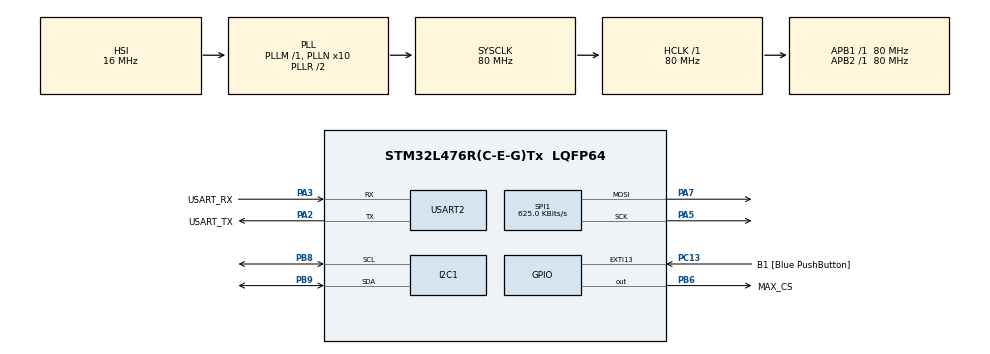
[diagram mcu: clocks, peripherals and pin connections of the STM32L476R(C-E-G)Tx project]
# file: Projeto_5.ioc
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I2C1.Timing=0x10D19CE4
Mcu.Family=STM32L4
Mcu.Name=STM32L476R(C-E-G)Tx
Mcu.Package=LQFP64
NVIC.I2C1_ER_IRQn=true\:0\:0\:false\:false\:true\:true\:true\:true
NVIC.I2C1_EV_IRQn=true\:0\:0\:false\:false\:true\:true\:true\:true
NVIC.PriorityGroup=NVIC_PRIORITYGROUP_4
NVIC.SPI1_IRQn=true\:0\:0\:false\:false\:true\:true\:true\:true
NVIC.USART2_IRQn=true\:0\:0\:false\:false\:true\:true\:true\:true
PA13\ (JTMS-SWDIO).GPIO_Label=TMS
PA13\ (JTMS-SWDIO).Mode=Serial_Wire
PA13\ (JTMS-SWDIO).Signal=SYS_JTMS-SWDIO
PA14\ (JTCK-SWCLK).GPIO_Label=TCK
PA14\ (JTCK-SWCLK).Mode=Serial_Wire
PA14\ (JTCK-SWCLK).Signal=SYS_JTCK-SWCLK
PA2.GPIO_Label=USART_TX
PA2.GPIO_Mode=GPIO_MODE_AF_PP
PA2.GPIO_PuPd=GPIO_NOPULL
PA2.GPIO_Speed=GPIO_SPEED_FREQ_VERY_HIGH
PA2.Mode=Asynchronous
PA2.Signal=USART2_TX
PA3.GPIO_Label=USART_RX
PA3.GPIO_Mode=GPIO_MODE_AF_PP
PA3.GPIO_PuPd=GPIO_NOPULL
PA3.GPIO_Speed=GPIO_SPEED_FREQ_VERY_HIGH
PA3.Mode=Asynchronous
PA3.Signal=USART2_RX
PA5.Mode=TX_Only_Simplex_Unidirect_Master
PA5.Signal=SPI1_SCK
PA7.Mode=TX_Only_Simplex_Unidirect_Master
PA7.Signal=SPI1_MOSI
PB3\ (JTDO-TRACESWO).GPIO_Label=SWO
PB3\ (JTDO-TRACESWO).Signal=SYS_JTDO-SWO
PB6.GPIO_Label=MAX_CS
PB6.PinState=GPIO_PIN_SET
PB6.Signal=GPIO_Output
PB8.Mode=I2C
PB8.Signal=I2C1_SCL
PB9.Mode=I2C
PB9.Signal=I2C1_SDA
PC13.GPIO_Label=B1 [Blue PushButton]
PC13.GPIO_ModeDefaultEXTI=GPIO_MODE_IT_FALLING
PC13.GPIO_PuPd=GPIO_NOPULL
PC13.Signal=GPXTI13
PC14-OSC32_IN\ (PC14).Mode=LSE-External-Oscillator
PC14-OSC32_IN\ (PC14).Signal=RCC_OSC32_IN
PC15-OSC32_OUT\ (PC15).Mode=LSE-External-Oscillator
PC15-OSC32_OUT\ (PC15).Signal=RCC_OSC32_OUT
PH0-OSC_IN\ (PH0).Signal=RCC_OSC_IN
PH1-OSC_OUT\ (PH1).Signal=RCC_OSC_OUT
ProjectManager.HeapSize=0x200
ProjectManager.StackSize=0x400
ProjectManager.TargetToolchain=STM32CubeIDE
RCC.ADCFreq_Value=64000000
RCC.AHBFreq_Value=80000000
RCC.APB1Freq_Value=80000000
RCC.APB1TimFreq_Value=80000000
RCC.APB2Freq_Value=80000000
RCC.APB2TimFreq_Value=80000000
RCC.CortexFreq_Value=80000000
RCC.HCLKFreq_Value=80000000
RCC.HSE_VALUE=8000000
RCC.HSI_VALUE=16000000
RCC.MSI_VALUE=4000000
RCC.PLLN=10
RCC.PLLSourceVirtual=RCC_PLLSOURCE_HSI
RCC.PREFETCH_ENABLE=1
RCC.SYSCLKFreq_VALUE=80000000
RCC.SYSCLKSource=RCC_SYSCLKSOURCE_PLLCLK
RCC.USBFreq_Value=64000000
RCC.VCOOutputFreq_Value=160000000
SPI1.BaudRatePrescaler=SPI_BAUDRATEPRESCALER_128
SPI1.CalculateBaudRate=625.0 KBits/s
SPI1.DataSize=SPI_DATASIZE_8BIT
SPI1.Direction=SPI_DIRECTION_2LINES
SPI1.Mode=SPI_MODE_MASTER
SPI1.VirtualType=VM_MASTER
USART2.VirtualMode-Asynchronous=VM_ASYNC
board=NUCLEO-L476RG

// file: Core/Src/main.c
/* USER CODE BEGIN Header */
/**
  ******************************************************************************
  * @file           : main.c
  * @brief          : Main program body
  ******************************************************************************
  * @attention
  *
  * Copyright (c) 2026 STMicroelectronics.
  * All rights reserved.
  *
  * This software is licensed under terms that can be found in the LICENSE file
  * in the root directory of this software component.
  * If no LICENSE file comes with this software, it is provided AS-IS.
  *
  ******************************************************************************
  */
/* USER CODE END Header */
#include "main.h"

/* USER CODE BEGIN Includes */
#include <stdio.h>
#include <string.h>
#include <stdlib.h>
#include <ctype.h>
/* USER CODE END Includes */

/* USER CODE BEGIN PTD */
typedef enum { I2C_LIVRE, I2C_ENVIANDO_CANAL, I2C_LENDO, I2C_ENVIANDO_DAC } EstadoI2C;
typedef enum { EV_NENHUM, EV_CANAL_ENVIADO, EV_LEITURA_OK, EV_DAC_OK, EV_ERRO } EventoI2C;
typedef enum { ORIG_AIN, ORIG_TEMP, ORIG_VOLT, ORIG_LDR } Origem;
typedef struct { uint8_t reg; uint8_t dado; } PacoteSPI;
/* USER CODE END PTD */

/* USER CODE BEGIN PD */
#define HUART_PC          huart2        /* UART ligada ao PC: USART2 (cabo USB do ST-LINK) */
#define PCF8591_ADDR      (0x48 << 1)   /* endereco 0x48 no formato do HAL = 0x90 */
#define CTRL_DAC_ON       0x40          /* bit 6 do byte de controle: liga a saida analogica */
#define TAM_LINHA         32
#define LIMIAR            128           /* < 128 -> '-'   >= 128 -> '+' */
#define PERIODO_PISCA_MS  500

/* registradores do MAX7219 */
#define MAX_REG_DECODE    0x09
#define MAX_REG_INTENS    0x0A
#define MAX_REG_SCAN      0x0B
#define MAX_REG_SHUTDOWN  0x0C
#define MAX_REG_TEST      0x0F
#define FILA_SPI          32

/* orientacao da matriz: se as letras aparecerem deitadas / espelhadas / de cabeca para baixo,
   troque estes valores (0 ou 1) ate ficarem certas */
#define MATRIZ_GIRAR      0
#define MATRIZ_INVERTER   0
#define MATRIZ_ESPELHAR   0
/* USER CODE END PD */

I2C_HandleTypeDef hi2c1;

SPI_HandleTypeDef hspi1;

UART_HandleTypeDef huart2;

/* USER CODE BEGIN PV */
/* ---- I2C / PCF8591 ---- */
static volatile EstadoI2C estado_i2c = I2C_LIVRE;
static volatile EventoI2C evento_i2c = EV_NENHUM;
static volatile uint32_t  erro_i2c   = 0;
static uint8_t  ctrl_tx;
static uint8_t  dac_tx[2];
static uint8_t  adc_rx[2];
static uint8_t  canal_atual = 0;
static Origem   origem      = ORIG_AIN;
static uint8_t  dac_valor   = 0;
static uint8_t  dac_ligado  = 0;

/* ---- UART / comandos ---- */
static uint8_t  rx_char;
static char     linha[TAM_LINHA];
static uint8_t  idx_linha = 0;
static char     comando[TAM_LINHA];
static volatile uint8_t comando_pronto = 0;

/* ---- SPI / MAX7219 ---- */
static PacoteSPI fila_spi[FILA_SPI];
static uint8_t   fila_ini = 0, fila_fim = 0, fila_qtd = 0;
static uint8_t   spi_tx[2];
static volatile uint8_t spi_ocupado = 0;

/* ---- matriz ---- */
static char      matriz_modo  = 0;     /* 0 = nada;  'T', 'V' ou 'L' */
static char      matriz_sinal = '-';   /* '+' ou '-' */
static uint8_t   matriz_fase  = 0;     /* 0 = mostra a letra, 1 = mostra o sinal */
static uint32_t  matriz_t0    = 0;

/* desenhos 8x8: cada byte e uma linha (de cima para baixo); bit 7 = coluna da esquerda */
static const uint8_t G_T[8]     = {0x7E,0x7E,0x18,0x18,0x18,0x18,0x18,0x18};
static const uint8_t G_V[8]     = {0x42,0x42,0x42,0x42,0x42,0x24,0x24,0x18};
static const uint8_t G_L[8]     = {0x60,0x60,0x60,0x60,0x60,0x60,0x7E,0x7E};
static const uint8_t G_MAIS[8]  = {0x00,0x18,0x18,0x7E,0x7E,0x18,0x18,0x00};
static const uint8_t G_MENOS[8] = {0x00,0x00,0x00,0x7E,0x7E,0x00,0x00,0x00};
/* USER CODE END PV */

void SystemClock_Config(void);
static void MX_GPIO_Init(void);
static void MX_USART2_UART_Init(void);
static void MX_I2C1_Init(void);
static void MX_SPI1_Init(void);
/* USER CODE BEGIN PFP */
static void uart_print(const char *s);
static void formata_volts(uint8_t valor, char *dst, size_t n);
static void Read_PCF8591(uint8_t canal, Origem o);
static void iniciar_dac(uint8_t valor);
static void Process_Command(const char *cmd);
static void tratar_evento_i2c(void);
static void concluir_leitura(uint8_t valor);
static void max_escrever(uint8_t reg, uint8_t dado);
static void max_init(void);
static void spi_bombear(void);
static void desenhar(const uint8_t g[8]);
static void matriz_mostrar(void);
/* USER CODE END PFP */

int main(void)
{

  /* MCU Configuration--------------------------------------------------------*/

  /* Reset of all peripherals, Initializes the Flash interface and the Systick. */
  HAL_Init();

  /* Configure the system clock */
  SystemClock_Config();

  /* Initialize all configured peripherals */
  MX_GPIO_Init();
  MX_USART2_UART_Init();
  MX_I2C1_Init();
  MX_SPI1_Init();
  /* USER CODE BEGIN 2 */
  uart_print("\r\nProjeto SPI + I2C: Temp, Volt, LDR, Read_AIN0/1/3, Set_DAC_<0-255>\r\n");
  HAL_UART_Receive_IT(&HUART_PC, &rx_char, 1);   /* comeca a ouvir o teclado */
  max_init();                                     /* coloca a configuracao do MAX7219 na fila SPI */
  /* USER CODE END 2 */

  /* Infinite loop */
  while (1)
  {

    /* USER CODE BEGIN 3 */
	  /* 1) algum aviso do I2C para tratar? */
	  if (evento_i2c != EV_NENHUM) {
	      tratar_evento_i2c();
	  }

	  /* 2) comando novo e I2C livre? */
	  if (comando_pronto && estado_i2c == I2C_LIVRE) {
	      comando_pronto = 0;
	      Process_Command(comando);
	  }

	  /* 3) manda o proximo pacote da fila para o MAX7219 (se o SPI estiver livre) */
	  spi_bombear();

	  /* 4) alterna letra / sinal a cada 500 ms, sem travar nada */
	  if (matriz_modo != 0 && (HAL_GetTick() - matriz_t0) >= PERIODO_PISCA_MS) {
	      matriz_t0 = HAL_GetTick();
	      matriz_fase ^= 1;
	      matriz_mostrar();
	  }
  }
  /* USER CODE END 3 */
}

void SystemClock_Config(void)
{
  RCC_OscInitTypeDef RCC_OscInitStruct = {0};
  RCC_ClkInitTypeDef RCC_ClkInitStruct = {0};

  /** Configure the main internal regulator output voltage
  */
  if (HAL_PWREx_ControlVoltageScaling(PWR_REGULATOR_VOLTAGE_SCALE1) != HAL_OK)
  {
    Error_Handler();
  }

  /** Initializes the RCC Oscillators according to the specified parameters
  * in the RCC_OscInitTypeDef structure.
  */
  RCC_OscInitStruct.OscillatorType = RCC_OSCILLATORTYPE_HSI;
  RCC_OscInitStruct.HSIState = RCC_HSI_ON;
  RCC_OscInitStruct.HSICalibrationValue = RCC_HSICALIBRATION_DEFAULT;
  RCC_OscInitStruct.PLL.PLLState = RCC_PLL_ON;
  RCC_OscInitStruct.PLL.PLLSource = RCC_PLLSOURCE_HSI;
  RCC_OscInitStruct.PLL.PLLM = 1;
  RCC_OscInitStruct.PLL.PLLN = 10;
  RCC_OscInitStruct.PLL.PLLP = RCC_PLLP_DIV7;
  RCC_OscInitStruct.PLL.PLLQ = RCC_PLLQ_DIV2;
  RCC_OscInitStruct.PLL.PLLR = RCC_PLLR_DIV2;
  if (HAL_RCC_OscConfig(&RCC_OscInitStruct) != HAL_OK)
  {
    Error_Handler();
  }

  /** Initializes the CPU, AHB and APB buses clocks
  */
  RCC_ClkInitStruct.ClockType = RCC_CLOCKTYPE_HCLK|RCC_CLOCKTYPE_SYSCLK
                              |RCC_CLOCKTYPE_PCLK1|RCC_CLOCKTYPE_PCLK2;
  RCC_ClkInitStruct.SYSCLKSource = RCC_SYSCLKSOURCE_PLLCLK;
  RCC_ClkInitStruct.AHBCLKDivider = RCC_SYSCLK_DIV1;
  RCC_ClkInitStruct.APB1CLKDivider = RCC_HCLK_DIV1;
  RCC_ClkInitStruct.APB2CLKDivider = RCC_HCLK_DIV1;

  if (HAL_RCC_ClockConfig(&RCC_ClkInitStruct, FLASH_LATENCY_4) != HAL_OK)
  {
    Error_Handler();
  }
}

static void MX_I2C1_Init(void)
{

  hi2c1.Instance = I2C1;
  hi2c1.Init.Timing = 0x10D19CE4;
  hi2c1.Init.OwnAddress1 = 0;
  hi2c1.Init.AddressingMode = I2C_ADDRESSINGMODE_7BIT;
  hi2c1.Init.DualAddressMode = I2C_DUALADDRESS_DISABLE;
  hi2c1.Init.OwnAddress2 = 0;
  hi2c1.Init.OwnAddress2Masks = I2C_OA2_NOMASK;
  hi2c1.Init.GeneralCallMode = I2C_GENERALCALL_DISABLE;
  hi2c1.Init.NoStretchMode = I2C_NOSTRETCH_DISABLE;
  if (HAL_I2C_Init(&hi2c1) != HAL_OK)
  {
    Error_Handler();
  }

  /** Configure Analogue filter
  */
  if (HAL_I2CEx_ConfigAnalogFilter(&hi2c1, I2C_ANALOGFILTER_ENABLE) != HAL_OK)
  {
    Error_Handler();
  }

  /** Configure Digital filter
  */
  if (HAL_I2CEx_ConfigDigitalFilter(&hi2c1, 0) != HAL_OK)
  {
    Error_Handler();
  }

}

static void MX_SPI1_Init(void)
{

  /* SPI1 parameter configuration*/
  hspi1.Instance = SPI1;
  hspi1.Init.Mode = SPI_MODE_MASTER;
  hspi1.Init.Direction = SPI_DIRECTION_2LINES;
  hspi1.Init.DataSize = SPI_DATASIZE_8BIT;
  hspi1.Init.CLKPolarity = SPI_POLARITY_LOW;
  hspi1.Init.CLKPhase = SPI_PHASE_1EDGE;
  hspi1.Init.NSS = SPI_NSS_SOFT;
  hspi1.Init.BaudRatePrescaler = SPI_BAUDRATEPRESCALER_128;
  hspi1.Init.FirstBit = SPI_FIRSTBIT_MSB;
  hspi1.Init.TIMode = SPI_TIMODE_DISABLE;
  hspi1.Init.CRCCalculation = SPI_CRCCALCULATION_DISABLE;
  hspi1.Init.CRCPolynomial = 7;
  hspi1.Init.CRCLength = SPI_CRC_LENGTH_DATASIZE;
  hspi1.Init.NSSPMode = SPI_NSS_PULSE_ENABLE;
  if (HAL_SPI_Init(&hspi1) != HAL_OK)
  {
    Error_Handler();
  }

}

static void MX_USART2_UART_Init(void)
{

  huart2.Instance = USART2;
  huart2.Init.BaudRate = 115200;
  huart2.Init.WordLength = UART_WORDLENGTH_8B;
  huart2.Init.StopBits = UART_STOPBITS_1;
  huart2.Init.Parity = UART_PARITY_NONE;
  huart2.Init.Mode = UART_MODE_TX_RX;
  huart2.Init.HwFlowCtl = UART_HWCONTROL_NONE;
  huart2.Init.OverSampling = UART_OVERSAMPLING_16;
  huart2.Init.OneBitSampling = UART_ONE_BIT_SAMPLE_DISABLE;
  huart2.AdvancedInit.AdvFeatureInit = UART_ADVFEATURE_NO_INIT;
  if (HAL_UART_Init(&huart2) != HAL_OK)
  {
    Error_Handler();
  }

}

static void MX_GPIO_Init(void)
{
  GPIO_InitTypeDef GPIO_InitStruct = {0};

  /* GPIO Ports Clock Enable */
  __HAL_RCC_GPIOC_CLK_ENABLE();
  __HAL_RCC_GPIOH_CLK_ENABLE();
  __HAL_RCC_GPIOA_CLK_ENABLE();
  __HAL_RCC_GPIOB_CLK_ENABLE();

  /*Configure GPIO pin Output Level */
  HAL_GPIO_WritePin(MAX_CS_GPIO_Port, MAX_CS_Pin, GPIO_PIN_SET);

  /*Configure GPIO pin : B1_Pin */
  GPIO_InitStruct.Pin = B1_Pin;
  GPIO_InitStruct.Mode = GPIO_MODE_IT_FALLING;
  GPIO_InitStruct.Pull = GPIO_NOPULL;
  HAL_GPIO_Init(B1_GPIO_Port, &GPIO_InitStruct);

  /*Configure GPIO pin : MAX_CS_Pin */
  GPIO_InitStruct.Pin = MAX_CS_Pin;
  GPIO_InitStruct.Mode = GPIO_MODE_OUTPUT_PP;
  GPIO_InitStruct.Pull = GPIO_NOPULL;
  GPIO_InitStruct.Speed = GPIO_SPEED_FREQ_LOW;
  HAL_GPIO_Init(MAX_CS_GPIO_Port, &GPIO_InitStruct);

}

/* USER CODE BEGIN 4 */
/* ================= UART: texto para o PC ================= */
static void uart_print(const char *s)
{
    HAL_UART_Transmit(&HUART_PC, (uint8_t *)s, (uint16_t)strlen(s), 100);
}

/* valor 0-255 -> "x.xx V" (valor * 3,3 V / 256) */
static void formata_volts(uint8_t valor, char *dst, size_t n)
{
    unsigned mv = ((unsigned)valor * 3300u) / 256u;
    snprintf(dst, n, "%u.%02u V", mv / 1000u, (mv % 1000u) / 10u);
}

/* ================= funcoes de texto (comandos) ================= */
static int iguais(const char *a, const char *b)            /* compara sem diferenciar maiuscula */
{
    while (*a && *b) {
        if (tolower((unsigned char)*a) != tolower((unsigned char)*b)) return 0;
        a++; b++;
    }
    return (*a == 0 && *b == 0);
}

static int comeca_com(const char *s, const char *prefixo)
{
    while (*prefixo) {
        if (tolower((unsigned char)*s) != tolower((unsigned char)*prefixo)) return 0;
        s++; prefixo++;
    }
    return 1;
}

static int le_numero(const char *s, unsigned *out)         /* so digitos, 1 a 3 */
{
    unsigned v = 0; int n = 0;
    while (*s >= '0' && *s <= '9') { v = v * 10u + (unsigned)(*s - '0'); s++; n++; if (n > 3) return 0; }
    if (n == 0 || *s != 0) return 0;
    *out = v;
    return 1;
}

/* ================= I2C / PCF8591 (sem bloquear) ================= */
static void Read_PCF8591(uint8_t canal, Origem o)
{
    canal_atual = canal;
    origem      = o;
    ctrl_tx     = (uint8_t)((dac_ligado ? CTRL_DAC_ON : 0) | canal);   /* escolhe o canal */
    estado_i2c  = I2C_ENVIANDO_CANAL;
    if (HAL_I2C_Master_Transmit_IT(&hi2c1, PCF8591_ADDR, &ctrl_tx, 1) != HAL_OK) {
        estado_i2c = I2C_LIVRE;
        uart_print("Erro: I2C ocupado\r\n");
    }
}

static void iniciar_dac(uint8_t valor)
{
    dac_tx[0]  = CTRL_DAC_ON;     /* byte de controle: DAC ligado */
    dac_tx[1]  = valor;           /* valor 0-255 */
    estado_i2c = I2C_ENVIANDO_DAC;
    if (HAL_I2C_Master_Transmit_IT(&hi2c1, PCF8591_ADDR, dac_tx, 2) != HAL_OK) {
        estado_i2c = I2C_LIVRE;
        uart_print("Erro: I2C ocupado\r\n");
    }
}

static void Process_Command(const char *cmd)
{
    unsigned v;
    char msg[48];

    if      (iguais(cmd, "Temp"))      Read_PCF8591(1, ORIG_TEMP);   /* NTC          */
    else if (iguais(cmd, "Volt"))      Read_PCF8591(3, ORIG_VOLT);   /* potenciometro */
    else if (iguais(cmd, "LDR"))       Read_PCF8591(0, ORIG_LDR);    /* luz          */
    else if (iguais(cmd, "Read_AIN0")) Read_PCF8591(0, ORIG_AIN);
    else if (iguais(cmd, "Read_AIN1")) Read_PCF8591(1, ORIG_AIN);
    else if (iguais(cmd, "Read_AIN3")) Read_PCF8591(3, ORIG_AIN);
    else if (iguais(cmd, "Read_AIN2")) uart_print("AIN2 sem uso na placa PCF8591\r\n");
    else if (comeca_com(cmd, "Set_DAC_")) {
        if (le_numero(cmd + 8, &v) && v <= 255u) {
            dac_valor = (uint8_t)v;
            iniciar_dac(dac_valor);
        } else {
            uart_print("Valor invalido: use Set_DAC_<0-255>\r\n");
        }
    } else {
        snprintf(msg, sizeof msg, "Comando desconhecido: %s\r\n", cmd);
        uart_print(msg);
    }
}

/* chamada pelo laco principal quando um callback do I2C deixou um aviso */
static void tratar_evento_i2c(void)
{
    EventoI2C ev = evento_i2c;
    char msg[64], vb[16];
    evento_i2c = EV_NENHUM;

    switch (ev) {
    case EV_CANAL_ENVIADO:                       /* canal escolhido: agora le 2 bytes */
        estado_i2c = I2C_LENDO;
        if (HAL_I2C_Master_Receive_IT(&hi2c1, PCF8591_ADDR, adc_rx, 2) != HAL_OK) {
            estado_i2c = I2C_LIVRE;
            uart_print("Erro: I2C ocupado\r\n");
        }
        break;

    case EV_LEITURA_OK:                          /* adc_rx[0] = conversao anterior, adc_rx[1] = a nova */
        estado_i2c = I2C_LIVRE;
        concluir_leitura(adc_rx[1]);
        break;

    case EV_DAC_OK:
        estado_i2c = I2C_LIVRE;
        dac_ligado = 1;
        formata_volts(dac_valor, vb, sizeof vb);
        snprintf(msg, sizeof msg, "Valor do DAC: %u (%s)\r\n", dac_valor, vb);
        uart_print(msg);
        break;

    case EV_ERRO:
        estado_i2c = I2C_LIVRE;
        snprintf(msg, sizeof msg, "Erro I2C (codigo 0x%02lX): verifique SDA, SCL e VCC\r\n", (unsigned long)erro_i2c);
        uart_print(msg);
        break;

    default:
        break;
    }
}

/* mostra o valor no terminal e, se o comando foi Temp/Volt/LDR, atualiza a matriz */
static void concluir_leitura(uint8_t valor)
{
    char msg[64], vb[16];
    formata_volts(valor, vb, sizeof vb);

    if (origem == ORIG_AIN) {
        snprintf(msg, sizeof msg, "AIN%u: %u (%s)\r\n", canal_atual, valor, vb);
        uart_print(msg);
        return;
    }

    {
        const char *nome  = (origem == ORIG_TEMP) ? "Temp" : (origem == ORIG_VOLT) ? "Volt" : "LDR";
        char        letra = (origem == ORIG_TEMP) ? 'T'    : (origem == ORIG_VOLT) ? 'V'    : 'L';
        char        sinal = (valor >= LIMIAR) ? '+' : '-';

        snprintf(msg, sizeof msg, "%s: %u (%s) -> matriz: %c e %c\r\n", nome, valor, vb, letra, sinal);
        uart_print(msg);

        matriz_modo  = letra;
        matriz_sinal = sinal;
        matriz_fase  = 0;                 /* comeca mostrando a letra */
        matriz_t0    = HAL_GetTick();
        matriz_mostrar();
    }
}

/* ================= SPI / MAX7219 (sem bloquear) ================= */
/* poe um pacote (registrador + dado) na fila; quem envia de fato e o spi_bombear() */
static void max_escrever(uint8_t reg, uint8_t dado)
{
    if (fila_qtd < FILA_SPI) {
        fila_spi[fila_fim].reg  = reg;
        fila_spi[fila_fim].dado = dado;
        fila_fim = (uint8_t)((fila_fim + 1) % FILA_SPI);
        fila_qtd++;
    }
}

/* se o SPI esta livre e ha pacote na fila: CS baixo e Transmit_IT (o CS sobe no callback) */
static void spi_bombear(void)
{
    if (spi_ocupado || fila_qtd == 0) return;

    spi_tx[0] = fila_spi[fila_ini].reg;
    spi_tx[1] = fila_spi[fila_ini].dado;
    HAL_GPIO_WritePin(MAX_CS_GPIO_Port, MAX_CS_Pin, GPIO_PIN_RESET);
    spi_ocupado = 1;

    if (HAL_SPI_Transmit_IT(&hspi1, spi_tx, 2) == HAL_OK) {
        fila_ini = (uint8_t)((fila_ini + 1) % FILA_SPI);   /* pacote saiu da fila */
        fila_qtd--;
    } else {                                                /* nao deu: tenta de novo depois */
        HAL_GPIO_WritePin(MAX_CS_GPIO_Port, MAX_CS_Pin, GPIO_PIN_SET);
        spi_ocupado = 0;
    }
}

static void max_init(void)
{
    max_escrever(MAX_REG_TEST,     0x00);   /* sem teste (todos os LEDs acesos) */
    max_escrever(MAX_REG_SHUTDOWN, 0x01);   /* sai do desligado: operacao normal */
    max_escrever(MAX_REG_SCAN,     0x07);   /* varre as 8 linhas */
    max_escrever(MAX_REG_DECODE,   0x00);   /* sem decodificador: controle bit a bit */
    max_escrever(MAX_REG_INTENS,   0x03);   /* brilho baixo (0x00 a 0x0F) */
    for (uint8_t r = 1; r <= 8; r++) {
        max_escrever(r, 0x00);              /* apaga as 8 linhas */
    }
}

static uint8_t inverter_bits(uint8_t b)
{
    b = (uint8_t)(((b & 0xF0) >> 4) | ((b & 0x0F) << 4));
    b = (uint8_t)(((b & 0xCC) >> 2) | ((b & 0x33) << 2));
    b = (uint8_t)(((b & 0xAA) >> 1) | ((b & 0x55) << 1));
    return b;
}

/* manda um desenho 8x8 para a matriz (8 pacotes: linha 1 a 8) */
static void desenhar(const uint8_t g[8])
{
    uint8_t t[8], r[8];
    int i, j;

    for (i = 0; i < 8; i++) t[i] = g[i];

    if (MATRIZ_GIRAR) {                         /* transpoe: linhas viram colunas */
        for (i = 0; i < 8; i++) r[i] = 0;
        for (i = 0; i < 8; i++)
            for (j = 0; j < 8; j++)
                if (t[i] & (0x80 >> j)) r[j] |= (uint8_t)(0x80 >> i);
        for (i = 0; i < 8; i++) t[i] = r[i];
    }
    for (i = 0; i < 8; i++) {
        uint8_t dado = MATRIZ_ESPELHAR ? inverter_bits(t[i]) : t[i];
        uint8_t reg  = MATRIZ_INVERTER ? (uint8_t)(8 - i) : (uint8_t)(i + 1);
        max_escrever(reg, dado);
    }
}

/* mostra a letra (fase 0) ou o sinal (fase 1) */
static void matriz_mostrar(void)
{
    if (matriz_fase == 0) {
        desenhar(matriz_modo == 'T' ? G_T : (matriz_modo == 'V' ? G_V : G_L));
    } else {
        desenhar(matriz_sinal == '+' ? G_MAIS : G_MENOS);
    }
}

/* ================= CALLBACKS (o HAL chama sozinho; ficam curtos) ================= */
void HAL_I2C_MasterTxCpltCallback(I2C_HandleTypeDef *hi2c)
{
    if (hi2c->Instance != I2C1) return;
    evento_i2c = (estado_i2c == I2C_ENVIANDO_DAC) ? EV_DAC_OK : EV_CANAL_ENVIADO;
}

void HAL_I2C_MasterRxCpltCallback(I2C_HandleTypeDef *hi2c)
{
    if (hi2c->Instance != I2C1) return;
    evento_i2c = EV_LEITURA_OK;
}

void HAL_I2C_ErrorCallback(I2C_HandleTypeDef *hi2c)
{
    if (hi2c->Instance != I2C1) return;
    erro_i2c   = HAL_I2C_GetError(hi2c);
    evento_i2c = EV_ERRO;
}

void HAL_SPI_TxCpltCallback(SPI_HandleTypeDef *hspi)
{
    if (hspi->Instance != SPI1) return;
    HAL_GPIO_WritePin(MAX_CS_GPIO_Port, MAX_CS_Pin, GPIO_PIN_SET);   /* fecha o pacote */
    spi_ocupado = 0;
}

void HAL_SPI_ErrorCallback(SPI_HandleTypeDef *hspi)
{
    if (hspi->Instance != SPI1) return;
    HAL_GPIO_WritePin(MAX_CS_GPIO_Port, MAX_CS_Pin, GPIO_PIN_SET);
    spi_ocupado = 0;
}

void HAL_UART_RxCpltCallback(UART_HandleTypeDef *huart)
{
    if (huart->Instance == HUART_PC.Instance) {
        if (rx_char == '\r' || rx_char == '\n') {
            if (idx_linha > 0) {                      /* Enter: fecha o comando */
                linha[idx_linha] = 0;
                strcpy(comando, linha);
                comando_pronto = 1;
                idx_linha = 0;
            }
        } else if (idx_linha < TAM_LINHA - 1) {
            linha[idx_linha++] = (char)rx_char;
        }
        HAL_UART_Receive_IT(&HUART_PC, &rx_char, 1);  /* rearma para o proximo caractere */
    }
}

void HAL_UART_ErrorCallback(UART_HandleTypeDef *huart)
{
    if (huart->Instance == HUART_PC.Instance) {
        HAL_UART_Receive_IT(&HUART_PC, &rx_char, 1);  /* se der erro (ruido), volta a ouvir */
    }
}
/* USER CODE END 4 */

void Error_Handler(void)
{
  __disable_irq();
  while (1)
  {
  }
}
